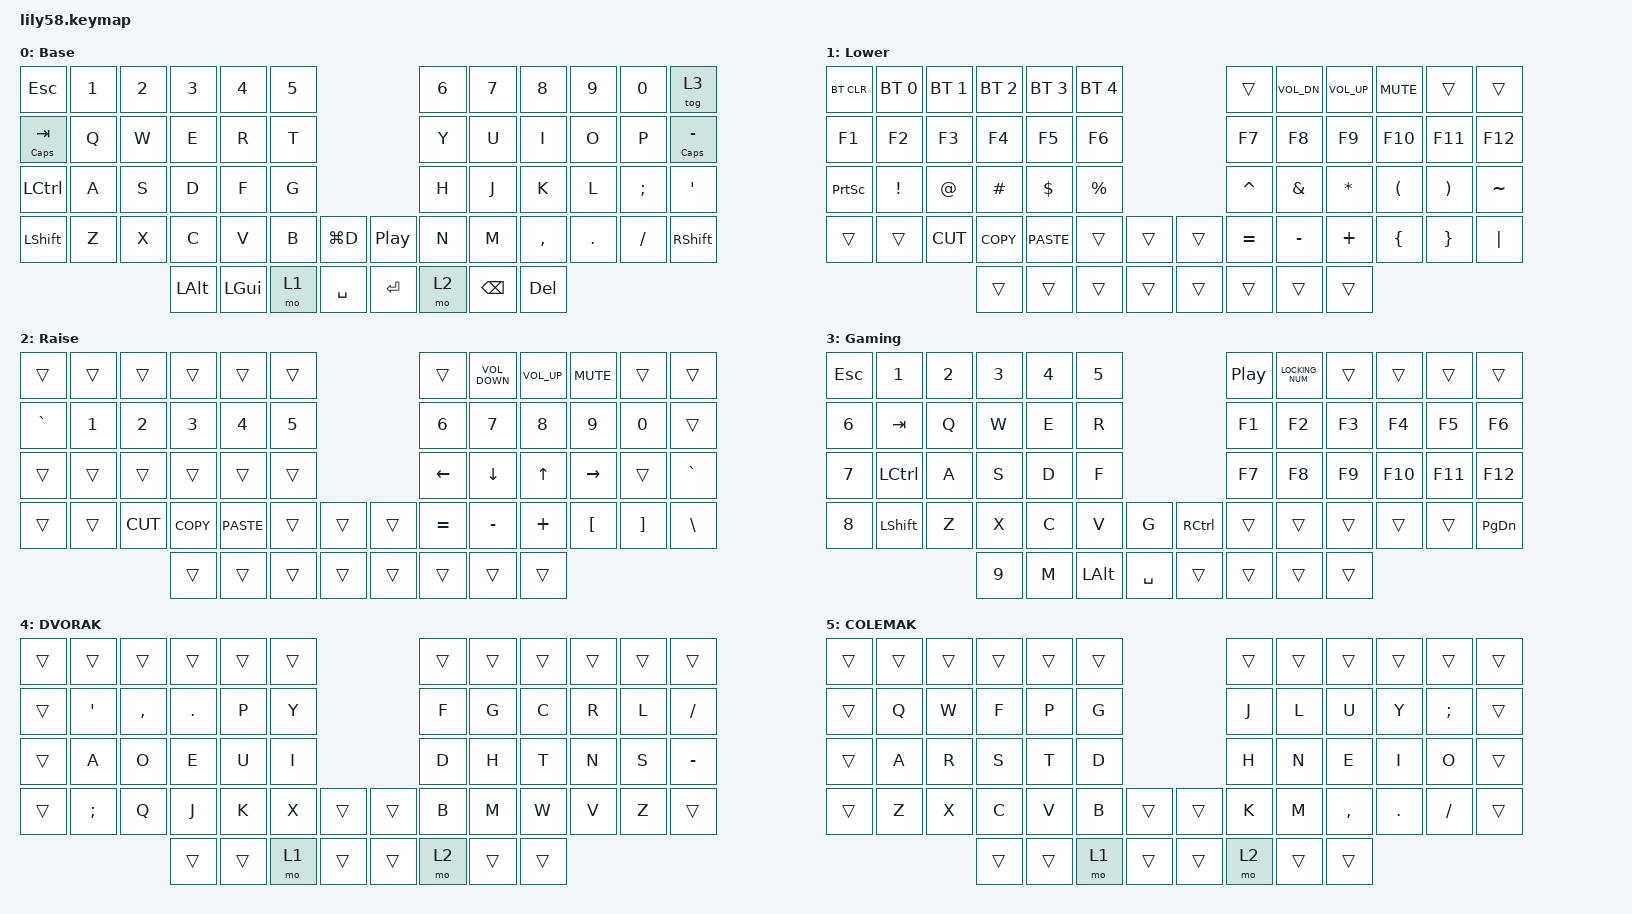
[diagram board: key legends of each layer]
/*
 * Copyright (c) 2020 The ZMK Contributors
 *
 * SPDX-License-Identifier: MIT
 */

#include <behaviors.dtsi>
#include <dt-bindings/zmk/bt.h>
#include <dt-bindings/zmk/keys.h>

&mt {
    tapping-term-ms = <1000>;
    quick-tap-ms = <900>;
};

/ {
    combos {
        compatible = "zmk,combos";

        Enter {
            bindings = <&kp ENTER>;
            key-positions = <31 32 33>;
        };
    };

    keymap {
        compatible = "zmk,keymap";

        default_layer {
            // ------------------------------------------------------------------------------------------------------------
            // |  ESC  |  1  |  2  |  3   |  4   |  5   |                   |  6   |  7    |  8    |  9   |   0   |   `   |
            // |  TAB  |  Q  |  W  |  E   |  R   |  T   |                   |  Y   |  U    |  I    |  O   |   P   |   -   |
            // |  CTRL |  A  |  S  |  D   |  F   |  G   |                   |  H   |  J    |  K    |  L   |   ;   |   '   |
            // | SHIFT |  Z  |  X  |  C   |  V   |  B   |   "["  |  |  "]"  |  N   |  M    |  ,    |  .   |   /   | SHIFT |
            //                     | ALT  | GUI  | LOWER|  SPACE |  | ENTER | RAISE| BSPC  | GUI   |

            display-name = "Base";
            bindings = <
&kp ESC           &kp N1  &kp N2  &kp N3    &kp N4    &kp N5                                 &kp N6  &kp N7    &kp N8      &kp N9   &kp N0         &tog 3
&mt CAPSLOCK TAB  &kp Q   &kp W   &kp E     &kp R     &kp T                                  &kp Y   &kp U     &kp I       &kp O    &kp P          &mt CAPSLOCK MINUS
&kp LCTRL         &kp A   &kp S   &kp D     &kp F     &kp G                                  &kp H   &kp J     &kp K       &kp L    &kp SEMICOLON  &kp SQT
&kp LSHFT         &kp Z   &kp X   &kp C     &kp V     &kp B   &kp LG(D)    &kp C_PLAY_PAUSE  &kp N   &kp M     &kp COMMA   &kp DOT  &kp FSLH       &kp RSHFT
                                  &kp LALT  &kp LGUI  &mo 1   &kp SPACE    &kp ENTER         &mo 2   &kp BSPC  &kp DELETE
            >;
        };

        lower_layer {
            // ------------------------------------------------------------------------------------------------------------
            // | BTCLR | BT1 | BT2 |  BT3 |  BT4 |  BT5 |                   |      |       |       |      |       |       |
            // |  F1   |  F2 |  F3 |  F4  |  F5  |  F6  |                   |  F7  |  F8   |  F9   |  F10 |  F11  |  F12  |
            // |   `   |  !  |  @  |  #   |  $   |  %   |                   |  ^   |  &    |  *    |  (   |   )   |   ~   |
            // |       |     |     |      |      |      |        |  |       |      |  _    |  +    |  {   |   }   |  "|"  |
            //                     |      |      |      |        |  |       |      |       |       |

            display-name = "Lower";
            bindings = <
&bt BT_CLR       &bt BT_SEL 0  &bt BT_SEL 1  &bt BT_SEL 2  &bt BT_SEL 3  &bt BT_SEL 4                    &trans     &kp C_VOL_DN  &kp C_VOLUME_UP  &kp K_MUTE  &trans    &trans
&kp F1           &kp F2        &kp F3        &kp F4        &kp F5        &kp F6                          &kp F7     &kp F8        &kp F9           &kp F10     &kp F11   &kp F12
&kp PRINTSCREEN  &kp EXCL      &kp AT        &kp HASH      &kp DOLLAR    &kp PRCNT                       &kp CARET  &kp AMPS      &kp STAR         &kp LPAR    &kp RPAR  &kp TILDE
&trans           &trans        &kp K_CUT     &kp K_COPY    &kp K_PASTE   &trans        &trans    &trans  &kp EQUAL  &kp MINUS     &kp PLUS         &kp LBRC    &kp RBRC  &kp PIPE
                                             &trans        &trans        &trans        &trans    &trans  &trans     &trans        &trans
            >;
        };

        raise_layer {
            // ------------------------------------------------------------------------------------------------------------
            // |       |     |     |      |      |      |                   |      |       |       |      |       |       |
            // |   `   |  1  |  2  |  3   |  4   |  5   |                   |  6   |   7   |   8   |  9   |   0   |       |
            // |   F1  |  F2 |  F3 |  F4  |  F5  |  F6  |                   |      |   <-  |   v   |  ^   |  ->   |       |
            // |   F7  |  F8 |  F9 |  F10 |  F11 |  F12 |        |  |       |  +   |   -   |   =   |  [   |   ]   |   \   |
            //                     |      |      |      |        |  |       |      |       |       |

            display-name = "Raise";
            bindings = <
&trans     &trans  &trans     &trans      &trans       &trans                    &trans     &kp C_VOLUME_DOWN  &kp C_VOLUME_UP  &kp K_MUTE  &trans    &trans
&kp GRAVE  &kp N1  &kp N2     &kp N3      &kp N4       &kp N5                    &kp N6     &kp N7             &kp N8           &kp N9      &kp N0    &trans
&trans     &trans  &trans     &trans      &trans       &trans                    &kp LEFT   &kp DOWN           &kp UP           &kp RIGHT   &trans    &kp GRAVE
&trans     &trans  &kp K_CUT  &kp K_COPY  &kp K_PASTE  &trans  &trans    &trans  &kp EQUAL  &kp MINUS          &kp PLUS         &kp LBKT    &kp RBKT  &kp BSLH
                              &trans      &trans       &trans  &trans    &trans  &trans     &trans             &trans
            >;
        };

        Gaming {
            bindings = <
&kp ESC  &kp N1          &kp N2  &kp N3  &kp N4  &kp N5                            &kp C_PLAY_PAUSE  &kp LOCKING_NUM  &trans  &trans   &trans   &trans
&kp N6   &kp TAB         &kp Q   &kp W   &kp E   &kp R                             &kp F1            &kp F2           &kp F3  &kp F4   &kp F5   &kp F6
&kp N7   &kp LCTRL       &kp A   &kp S   &kp D   &kp F                             &kp F7            &kp F8           &kp F9  &kp F10  &kp F11  &kp F12
&kp N8   &kp LEFT_SHIFT  &kp Z   &kp X   &kp C   &kp V     &kp G        &kp RCTRL  &trans            &trans           &trans  &trans   &trans   &kp PG_DN
                                 &kp N9  &kp M   &kp LALT  &kp SPACE    &trans     &trans            &trans           &trans
            >;

            label = "Gaming";
        };

        DVORAK {
            bindings = <
&trans  &trans    &trans     &trans   &trans  &trans                    &trans  &trans  &trans  &trans  &trans  &trans
&trans  &kp APOS  &kp COMMA  &kp DOT  &kp P   &kp Y                     &kp F   &kp G   &kp C   &kp R   &kp L   &kp FSLH
&trans  &kp A     &kp O      &kp E    &kp U   &kp I                     &kp D   &kp H   &kp T   &kp N   &kp S   &kp MINUS
&trans  &kp SEMI  &kp Q      &kp J    &kp K   &kp X   &trans    &trans  &kp B   &kp M   &kp W   &kp V   &kp Z   &trans
                             &trans   &trans  &mo 1   &trans    &trans  &mo 2   &trans  &trans
            >;

            label = "DVORAK";
        };

        COLEMAK {
            bindings = <
&trans  &trans  &trans  &trans  &trans  &trans                    &trans  &trans  &trans     &trans   &trans    &trans
&trans  &kp Q   &kp W   &kp F   &kp P   &kp G                     &kp J   &kp L   &kp U      &kp Y    &kp SEMI  &trans
&trans  &kp A   &kp R   &kp S   &kp T   &kp D                     &kp H   &kp N   &kp E      &kp I    &kp O     &trans
&trans  &kp Z   &kp X   &kp C   &kp V   &kp B   &trans    &trans  &kp K   &kp M   &kp COMMA  &kp DOT  &kp FSLH  &trans
                        &trans  &trans  &mo 1   &trans    &trans  &mo 2   &trans  &trans
            >;

            label = "COLEMAK";
        };
    };

    conditional_layers { compatible = "zmk,conditional-layers"; };
};
